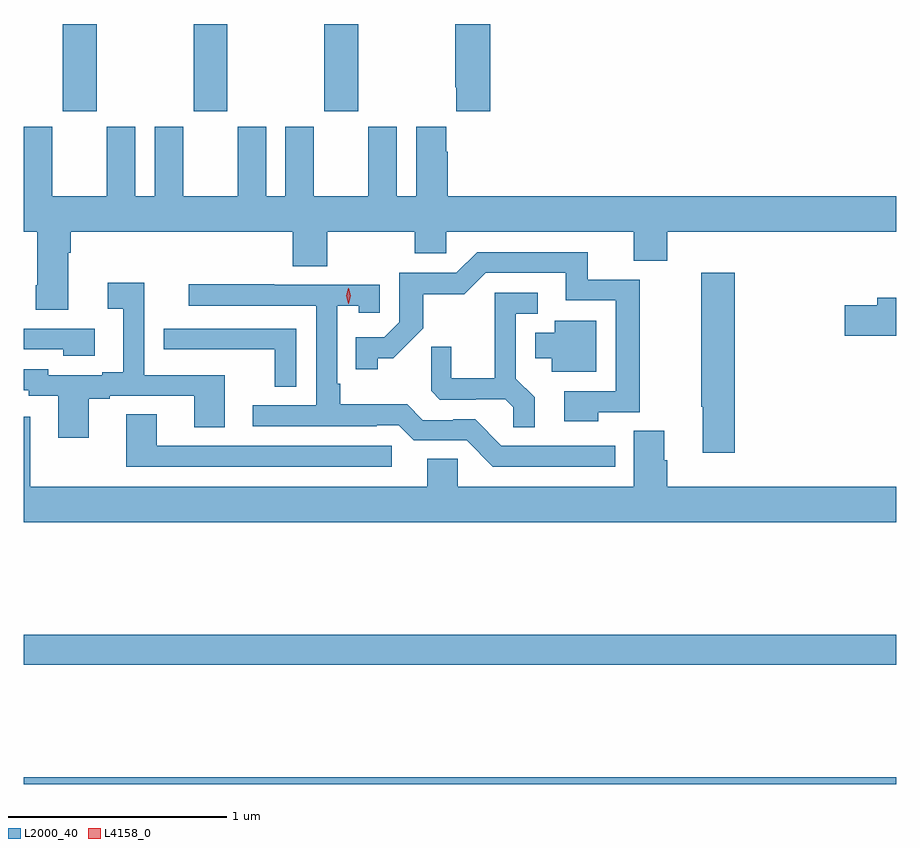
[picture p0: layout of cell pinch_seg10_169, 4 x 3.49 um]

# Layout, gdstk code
import gdstk
lib = gdstk.Library(unit=1e-6, precision=1e-09)
def R(c, l, rs):  # rectangles x0, y0, x1, y1
    for r in rs: c.add(gdstk.rectangle(r[:2], r[2:], *l))
def A(c, l, x, y, w, h, nx, ny, dx, dy):  # array of equal rectangles
    R(c, l, [(x+i*dx, y+j*dy, x+i*dx+w, y+j*dy+h) for i in range(nx) for j in range(ny)])
def P(c, l, *ps):  # polygons
    for p in ps: c.add(gdstk.Polygon(p, *l))
L2000_40 = (2000, 40)
L4158_0 = (4158, 0)

pinch_seg10_169 = lib.new_cell('pinch_seg10_169')
A(pinch_seg10_169, L2000_40, 681.895, 1251.585, 0.155, 0.401, 3, 1, 0.6, 0)
R(pinch_seg10_169, L2000_40, [(681.717,1248.5,685.717,1248.532), (681.717,1249.048,685.717,1249.184)])
P(pinch_seg10_169, L2000_40, [(683.855,1251.986),(683.695,1251.986),(683.695,1251.697),(683.699,1251.697),(683.699,1251.585),(683.855,1251.585)],
  [(681.919,1250.936),(681.932,1250.936),(681.932,1251.032),(682.949,1251.032),(682.949,1250.875),(683.109,1250.875),(683.109,1251.032),(683.509,1251.032),(683.509,1250.934),(683.655,1250.934),(683.655,1251.032),(684.515,1251.032),(684.515,1250.899),(684.668,1250.899),(684.668,1251.032),(685.717,1251.032),(685.717,1251.196),(683.66,1251.196),(683.66,1251.401),(683.653,1251.401),(683.653,1251.514),(683.516,1251.514),(683.516,1251.196),(683.428,1251.196),(683.428,1251.514),(683.297,1251.514),(683.297,1251.196),(683.047,1251.196),(683.047,1251.514),(682.916,1251.514),(682.916,1251.196),(682.828,1251.196),(682.828,1251.514),(682.697,1251.514),(682.697,1251.196),(682.447,1251.196),(682.447,1251.514),(682.316,1251.514),(682.316,1251.196),(682.228,1251.196),(682.228,1251.514),(682.097,1251.514),(682.097,1251.196),(681.847,1251.196),(681.847,1251.514),(681.717,1251.514),(681.717,1251.032),(681.779,1251.032),(681.779,1250.788),(681.772,1250.788),(681.772,1250.676),(681.919,1250.676)],
  [(684.351,1250.205),(684.541,1250.205),(684.541,1250.814),(684.302,1250.814),(684.302,1250.94),(683.796,1250.94),(683.7,1250.844),(683.439,1250.844),(683.439,1250.619),(683.37,1250.55),(683.239,1250.55),(683.239,1250.403),(683.34,1250.403),(683.34,1250.453),(683.41,1250.453),(683.548,1250.59),(683.548,1250.746),(683.737,1250.746),(683.835,1250.844),(684.203,1250.844),(684.203,1250.718),(684.432,1250.718),(684.432,1250.301),(684.195,1250.301),(684.195,1250.165),(684.351,1250.165)],
  [(684.977,1250.845),(684.823,1250.845),(684.823,1250.231),(684.83,1250.231),(684.83,1250.019),(684.977,1250.019)],
  [(682.015,1250.268),(682.111,1250.268),(682.111,1250.28),(682.499,1250.28),(682.499,1250.137),(682.639,1250.137),(682.639,1250.376),(682.269,1250.376),(682.269,1250.8),(682.101,1250.8),(682.101,1250.68),(682.172,1250.68),(682.172,1250.389),(682.076,1250.389),(682.076,1250.376),(681.828,1250.376),(681.828,1250.403),(681.717,1250.403),(681.717,1250.307),(681.738,1250.307),(681.738,1250.28),(681.875,1250.28),(681.875,1250.088),(682.015,1250.088)],
  [(684.43,1250.052),(683.907,1250.052),(683.787,1250.172),(683.686,1250.172),(683.686,1250.169),(683.547,1250.169),(683.474,1250.242),(683.167,1250.242),(683.167,1250.335),(683.154,1250.335),(683.154,1250.693),(683.253,1250.693),(683.253,1250.661),(683.349,1250.661),(683.349,1250.79),(682.865,1250.79),(682.865,1250.793),(682.473,1250.793),(682.473,1250.694),(683.058,1250.694),(683.058,1250.238),(682.767,1250.238),(682.767,1250.142),(683.336,1250.142),(683.336,1250.145),(683.436,1250.145),(683.505,1250.076),(683.748,1250.076),(683.868,1249.956),(684.43,1249.956)],
  [(684.059,1250.273),(683.973,1250.359),(683.973,1250.658),(684.073,1250.658),(684.073,1250.754),(683.876,1250.754),(683.876,1250.362),(683.678,1250.362),(683.678,1250.505),(683.584,1250.505),(683.584,1250.303),(683.625,1250.262),(683.79,1250.262),(683.79,1250.265),(683.924,1250.265),(683.961,1250.228),(683.961,1250.137),(684.059,1250.137)],
  [(685.717,1250.731),(685.631,1250.731),(685.631,1250.697),(685.482,1250.697),(685.482,1250.555),(685.717,1250.555)],
  [(684.343,1250.626),(684.152,1250.626),(684.152,1250.569),(684.062,1250.569),(684.062,1250.453),(684.137,1250.453),(684.137,1250.39),(684.343,1250.39)],
  [(682.042,1250.589),(681.717,1250.589),(681.717,1250.493),(681.897,1250.493),(681.897,1250.465),(682.042,1250.465)],
  [(682.965,1250.589),(682.359,1250.589),(682.359,1250.494),(682.471,1250.494),(682.471,1250.493),(682.867,1250.493),(682.867,1250.323),(682.965,1250.323)],
  [(683.404,1250.052),(682.327,1250.052),(682.327,1250.195),(682.187,1250.195),(682.187,1249.956),(683.404,1249.956)],
  [(685.717,1249.864),(684.668,1249.864),(684.668,1249.986),(684.655,1249.986),(684.655,1250.12),(684.515,1250.12),(684.515,1249.864),(683.706,1249.864),(683.706,1249.991),(683.567,1249.991),(683.567,1249.864),(681.745,1249.864),(681.745,1250.185),(681.717,1250.185),(681.717,1249.7),(685.717,1249.7)])
P(pinch_seg10_169, L4158_0, [(683.206,1250.702),(683.205,1250.703),(683.196,1250.739),(683.205,1250.774),(683.206,1250.775),(683.206,1250.774),(683.216,1250.739),(683.206,1250.703)])

lib.write_gds('pinch_seg10_169.gds')
